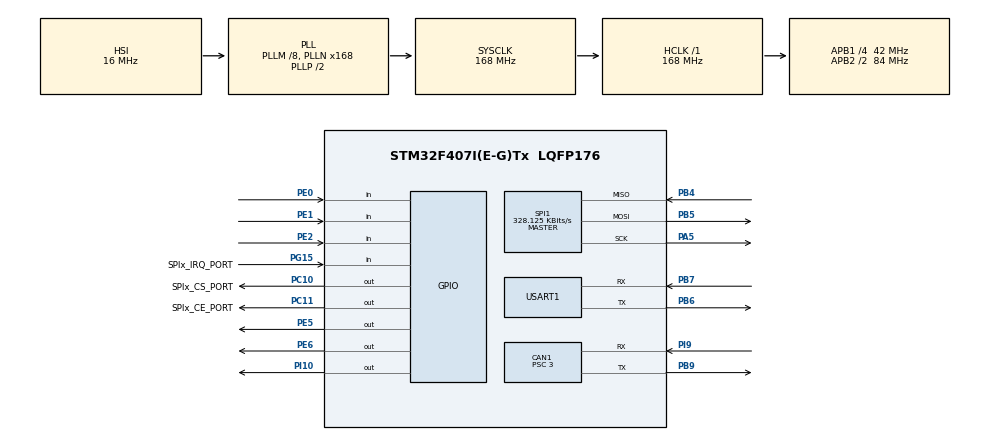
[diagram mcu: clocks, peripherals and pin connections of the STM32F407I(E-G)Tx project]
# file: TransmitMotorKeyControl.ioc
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CAN1.BS1=CAN_BS1_10TQ
CAN1.BS2=CAN_BS2_3TQ
CAN1.CalculateBaudRate=1000000
CAN1.CalculateTimeBit=1000
CAN1.CalculateTimeQuantum=71.42857142857143
CAN1.Mode=CAN_MODE_NORMAL
CAN1.Prescaler=3
FREERTOS.Tasks01=defaultTask,24,128,StartDefaultTask,Default,NULL,Dynamic,NULL,NULL;statelight,32,128,flashlight,Default,NULL,Dynamic,NULL,NULL;CANTask,24,128,candrive_task,Default,NULL,Dynamic,NULL,NULL;beepTask,16,128,beep,Default,NULL,Dynamic,NULL,NULL
Mcu.Family=STM32F4
Mcu.Name=STM32F407I(E-G)Tx
Mcu.Package=LQFP176
NVIC.CAN1_RX0_IRQn=true\:5\:0\:false\:false\:true\:true\:true\:true
NVIC.PriorityGroup=NVIC_PRIORITYGROUP_4
NVIC.TIM1_UP_TIM10_IRQn=true\:15\:0\:false\:false\:true\:false\:false\:true
NVIC.TimeBase=TIM1_UP_TIM10_IRQn
NVIC.TimeBaseIP=TIM1
NVIC.USART1_IRQn=true\:5\:0\:false\:false\:true\:true\:true\:true
PA13.Mode=Serial_Wire
PA13.Signal=SYS_JTMS-SWDIO
PA14.Mode=Serial_Wire
PA14.Signal=SYS_JTCK-SWCLK
PA5.Mode=Full_Duplex_Master
PA5.Signal=SPI1_SCK
PB4.Mode=Full_Duplex_Master
PB4.Signal=SPI1_MISO
PB5.Mode=Full_Duplex_Master
PB5.Signal=SPI1_MOSI
PB6.Mode=Asynchronous
PB6.Signal=USART1_TX
PB7.Mode=Asynchronous
PB7.Signal=USART1_RX
PB9.Mode=CAN_Activate
PB9.Signal=CAN1_TX
PC10.GPIO_Label=SPIx_CS_PORT
PC10.Signal=GPIO_Output
PC11.GPIO_Label=SPIx_CE_PORT
PC11.GPIO_ModeDefaultOutputPP=GPIO_MODE_OUTPUT_PP
PC11.Signal=GPIO_Output
PE0.GPIO_PuPd=GPIO_PULLUP
PE0.Signal=GPIO_Input
PE1.GPIO_PuPd=GPIO_PULLUP
PE1.Signal=GPIO_Input
PE2.GPIO_PuPd=GPIO_PULLUP
PE2.Signal=GPIO_Input
PE5.GPIO_PuPd=GPIO_PULLUP
PE5.Signal=GPIO_Output
PE6.GPIO_PuPd=GPIO_PULLUP
PE6.Signal=GPIO_Output
PG15.GPIO_Label=SPIx_IRQ_PORT
PG15.GPIO_PuPd=GPIO_PULLUP
PG15.Signal=GPIO_Input
PH0-OSC_IN.Mode=HSE-External-Oscillator
PH0-OSC_IN.Signal=RCC_OSC_IN
PH1-OSC_OUT.Mode=HSE-External-Oscillator
PH1-OSC_OUT.Signal=RCC_OSC_OUT
PI10.GPIO_PuPd=GPIO_PULLDOWN
PI10.Signal=GPIO_Output
PI9.Mode=CAN_Activate
PI9.Signal=CAN1_RX
ProjectManager.HeapSize=0x200
ProjectManager.StackSize=0x400
ProjectManager.TargetToolchain=STM32CubeIDE
RCC.48MHZClocksFreq_Value=84000000
RCC.AHBFreq_Value=168000000
RCC.APB1CLKDivider=RCC_HCLK_DIV4
RCC.APB1Freq_Value=42000000
RCC.APB1TimFreq_Value=84000000
RCC.APB2CLKDivider=RCC_HCLK_DIV2
RCC.APB2Freq_Value=84000000
RCC.APB2TimFreq_Value=168000000
RCC.CortexFreq_Value=168000000
RCC.HCLKFreq_Value=168000000
RCC.HSE_VALUE=25000000
RCC.HSI_VALUE=16000000
RCC.LSE_VALUE=32768
RCC.PLLM=8
RCC.PLLN=168
RCC.SYSCLKFreq_VALUE=168000000
RCC.SYSCLKSource=RCC_SYSCLKSOURCE_PLLCLK
RCC.VCOOutputFreq_Value=336000000
SPI1.BaudRatePrescaler=SPI_BAUDRATEPRESCALER_256
SPI1.CLKPhase=SPI_PHASE_2EDGE
SPI1.CalculateBaudRate=328.125 KBits/s
SPI1.Direction=SPI_DIRECTION_2LINES
SPI1.Mode=SPI_MODE_MASTER
SPI1.VirtualType=VM_MASTER
USART1.VirtualMode=VM_ASYNC
VP_FREERTOS_VS_CMSIS_V2.Mode=CMSIS_V2
VP_SYS_VS_tim1.Mode=TIM1
board=custom

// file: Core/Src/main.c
/* USER CODE BEGIN Header */
/**
  ******************************************************************************
  * @file           : main.c
  * @brief          : Main program body
  ******************************************************************************
  * @attention
  *
  * Copyright (c) 2022 STMicroelectronics.
  * All rights reserved.
  *
  * This software is licensed under terms that can be found in the LICENSE file
  * in the root directory of this software component.
  * If no LICENSE file comes with this software, it is provided AS-IS.
  *
  ******************************************************************************
  */
/* USER CODE END Header */
#include "main.h"
#include "cmsis_os.h"
#include "can.h"
#include "spi.h"
#include "usart.h"
#include "gpio.h"

/* USER CODE BEGIN Includes */
#include"bsp_led.h"
#include "bsp_spi.h"
/* USER CODE END Includes */

/* USER CODE BEGIN PTD */
//#ifdef __GNUC__
//#define PUTCHAR_PROTOTYPE int __io_putchar(int ch)
//#else
//#define PUTCHAR_PROTOTYPE int fputc(int ch,FILE *F)
//#endif
/* USER CODE END PTD */

void SystemClock_Config(void);
void MX_FREERTOS_Init(void);

/* USER CODE BEGIN 0 */
#include "stdio.h"
int __io_putchar(int ch)
{
HAL_UART_Transmit(&huart1,(uint8_t *)&ch,1,0xFFFF);
return ch;
}
int _write(int file,char *ptr,int len)
{
int DataIdx;
for (DataIdx=0;DataIdx< len; DataIdx++)
{
__io_putchar(*ptr++);
}
return len;
}
/* USER CODE END 0 */

int main(void)
{

  /* MCU Configuration--------------------------------------------------------*/

  /* Reset of all peripherals, Initializes the Flash interface and the Systick. */
  HAL_Init();

  /* Configure the system clock */
  SystemClock_Config();

  /* USER CODE BEGIN SysInit */
  bsp_SystemClock_Config();
  /* USER CODE END SysInit */

  /* Initialize all configured peripherals */
  MX_GPIO_Init();
  MX_CAN1_Init();
  MX_USART1_UART_Init();
  MX_SPI1_Init();
  /* USER CODE BEGIN 2 */
  bsp_LED_GPIO_Init();
  bsp_SPIx_Init();    		//初始化NRF24L01
  /* USER CODE END 2 */

  /* Init scheduler */
  osKernelInitialize();  /* Call init function for freertos objects (in freertos.c) */
  MX_FREERTOS_Init();
  /* Start scheduler */
  osKernelStart();

  /* We should never get here as control is now taken by the scheduler */
  /* Infinite loop */
  while (1)
  {

  }
}

void SystemClock_Config(void)
{
  RCC_OscInitTypeDef RCC_OscInitStruct = {0};
  RCC_ClkInitTypeDef RCC_ClkInitStruct = {0};

  /** Configure the main internal regulator output voltage
  */
  __HAL_RCC_PWR_CLK_ENABLE();
  __HAL_PWR_VOLTAGESCALING_CONFIG(PWR_REGULATOR_VOLTAGE_SCALE1);
  /** Initializes the RCC Oscillators according to the specified parameters
  * in the RCC_OscInitTypeDef structure.
  */
  RCC_OscInitStruct.OscillatorType = RCC_OSCILLATORTYPE_HSI;
  RCC_OscInitStruct.HSIState = RCC_HSI_ON;
  RCC_OscInitStruct.HSICalibrationValue = RCC_HSICALIBRATION_DEFAULT;
  RCC_OscInitStruct.PLL.PLLState = RCC_PLL_ON;
  RCC_OscInitStruct.PLL.PLLSource = RCC_PLLSOURCE_HSI;
  RCC_OscInitStruct.PLL.PLLM = 8;
  RCC_OscInitStruct.PLL.PLLN = 168;
  RCC_OscInitStruct.PLL.PLLP = RCC_PLLP_DIV2;
  RCC_OscInitStruct.PLL.PLLQ = 4;
  if (HAL_RCC_OscConfig(&RCC_OscInitStruct) != HAL_OK)
  {
    Error_Handler();
  }
  /** Initializes the CPU, AHB and APB buses clocks
  */
  RCC_ClkInitStruct.ClockType = RCC_CLOCKTYPE_HCLK|RCC_CLOCKTYPE_SYSCLK
                              |RCC_CLOCKTYPE_PCLK1|RCC_CLOCKTYPE_PCLK2;
  RCC_ClkInitStruct.SYSCLKSource = RCC_SYSCLKSOURCE_PLLCLK;
  RCC_ClkInitStruct.AHBCLKDivider = RCC_SYSCLK_DIV1;
  RCC_ClkInitStruct.APB1CLKDivider = RCC_HCLK_DIV4;
  RCC_ClkInitStruct.APB2CLKDivider = RCC_HCLK_DIV2;

  if (HAL_RCC_ClockConfig(&RCC_ClkInitStruct, FLASH_LATENCY_5) != HAL_OK)
  {
    Error_Handler();
  }
}

void HAL_TIM_PeriodElapsedCallback(TIM_HandleTypeDef *htim)
{
  if (htim->Instance == TIM1) {
    HAL_IncTick();
  }
}

void Error_Handler(void)
{
  __disable_irq();
  while (1)
  {
  }
}

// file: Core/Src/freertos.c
/* USER CODE BEGIN Header */
/**
  ******************************************************************************
  * File Name          : freertos.c
  * Description        : Code for freertos applications
  ******************************************************************************
  * @attention
  *
  * Copyright (c) 2022 STMicroelectronics.
  * All rights reserved.
  *
  * This software is licensed under terms that can be found in the LICENSE file
  * in the root directory of this software component.
  * If no LICENSE file comes with this software, it is provided AS-IS.
  *
  ******************************************************************************
  */
/* USER CODE END Header */

#include "FreeRTOS.h"
#include "task.h"
#include "main.h"
#include "cmsis_os.h"

/* USER CODE BEGIN Includes */
#include "can.h"
#include "gpio.h"
#include "stdio.h"
#include "usart.h"
#include "bsp_beep.h"
#include "bsp_key.h"
#include "bsp_led.h"
#include"bsp_spi.h"
#include "spi.h"
/* USER CODE END Includes */

/* USER CODE BEGIN PD */
 #define RXBUFFERSIZE  256
/* USER CODE END PD */

/* USER CODE BEGIN Variables */
char RxBuffer[RXBUFFERSIZE];
uint8_t tx_buffer=0x03;
uint8_t rx_buffer=7;
__IO uint8_t SI4432_RxBUFF[100];
__IO uint8_t data;
__IO uint8_t res,result1,result2,result=0,SI4432_RxLenth,SI4432_RxCount;
//uint32_t Velocity=100;
/* USER CODE END Variables */
/* Definitions for defaultTask */
osThreadId_t defaultTaskHandle;
const osThreadAttr_t defaultTask_attributes = {
  .name = "defaultTask",
  .stack_size = 128 * 4,
  .priority = (osPriority_t) osPriorityNormal,
};
/* Definitions for statelight */
osThreadId_t statelightHandle;
const osThreadAttr_t statelight_attributes = {
  .name = "statelight",
  .stack_size = 128 * 4,
  .priority = (osPriority_t) osPriorityAboveNormal,
};
/* Definitions for CANTask */
osThreadId_t CANTaskHandle;
const osThreadAttr_t CANTask_attributes = {
  .name = "CANTask",
  .stack_size = 128 * 4,
  .priority = (osPriority_t) osPriorityNormal,
};
/* Definitions for beepTask */
osThreadId_t beepTaskHandle;
const osThreadAttr_t beepTask_attributes = {
  .name = "beepTask",
  .stack_size = 128 * 4,
  .priority = (osPriority_t) osPriorityBelowNormal,
};

void StartDefaultTask(void *argument);
void flashlight(void *argument);
void candrive_task(void *argument);
void beep(void *argument);

void MX_FREERTOS_Init(void); /* (MISRA C 2004 rule 8.1) */

void MX_FREERTOS_Init(void) {

  /* Create the thread(s) */
  /* creation of defaultTask */
  defaultTaskHandle = osThreadNew(StartDefaultTask, NULL, &defaultTask_attributes);

  /* creation of statelight */
  statelightHandle = osThreadNew(flashlight, NULL, &statelight_attributes);

  /* creation of CANTask */
  CANTaskHandle = osThreadNew(candrive_task, NULL, &CANTask_attributes);

  /* creation of beepTask */
  beepTaskHandle = osThreadNew(beep, NULL, &beepTask_attributes);

}

void StartDefaultTask(void *argument)
{
  for(;;)
  {
    osDelay(1);
  }
}

void flashlight(void *argument)
{
  /* USER CODE BEGIN flashlight */
	Si4432reset_IRQ_Reg();
	Si4432config();
	data=0;
//	CanFilterConfig(&hcan1);
//	HAL_CAN_ActivateNotification(&hcan1, CAN_IT_RX_FIFO0_FULL);
//	HAL_CAN_Start(&hcan1);
//	motorInit();
	/* Infinite loop */
  for(;;)
  {
	Si4432startTransmit(data);
	HAL_Delay(1000);
	data++;
   }
}

void candrive_task(void *argument)
{
  /* USER CODE BEGIN candrive_task */

//	  CanFilterConfig(&hcan1);
//	  HAL_CAN_ActivateNotification(&hcan1, CAN_IT_RX_FIFO0_FULL);
//	  HAL_CAN_Start(&hcan1);
//	  printf("CAN Started!\n");
  /* Infinite loop */
  for(;;)
  {
//	  keycontrolmotor();
	  osDelay(50);
  }
  /* USER CODE END candrive_task */
}

void beep(void *argument)
{
  /* USER CODE BEGIN beep */
//	BEEP_GPIO_Init();
//	osDelay(10);
	BEEP_GPIO_Init();
	didi();
  /* Infinite loop */
  for(;;)
  {
//	  keyResponse();

	  osDelay(10);
	  	  if(KEY1_StateRead()==KEY_DOWN)
	  	      {
//	  	        di();
	  	        LED1_ON;
	  	        osDelay(500);
	  	        LED1_OFF;
	  	      }
	  	      if(KEY2_StateRead()==KEY_DOWN)
	  	      {
//	  	        di();
	  	        LED2_ON;
	  	        osDelay(500);
	  	        LED2_OFF;
	  	      }
	  	      if(KEY3_StateRead()==KEY_DOWN)
	  	      {
//	  	        di();
	  	        LED3_ON;
	  	        osDelay(500);
	  	        LED3_OFF;
	  	      }
	  	      if(KEY4_StateRead()==KEY_DOWN)
	  	      {
//	  				di();
	  				LED1_ON;LED2_ON;LED3_ON;
	  				osDelay(500);
	  				LED1_OFF;LED2_OFF;LED3_OFF;
	  	      }
	  	      if(KEY5_StateRead()==KEY_DOWN)
	  	      {
//	  	    	 di();
	  			LED1_ON;LED2_ON;LED3_ON;
	  			osDelay(500);
	  			LED1_OFF;LED2_OFF;LED3_OFF;
	  	      }
	  	    //	  vTaskSuspend(beepTaskHandle);
  }
  /* USER CODE END beep */
}
